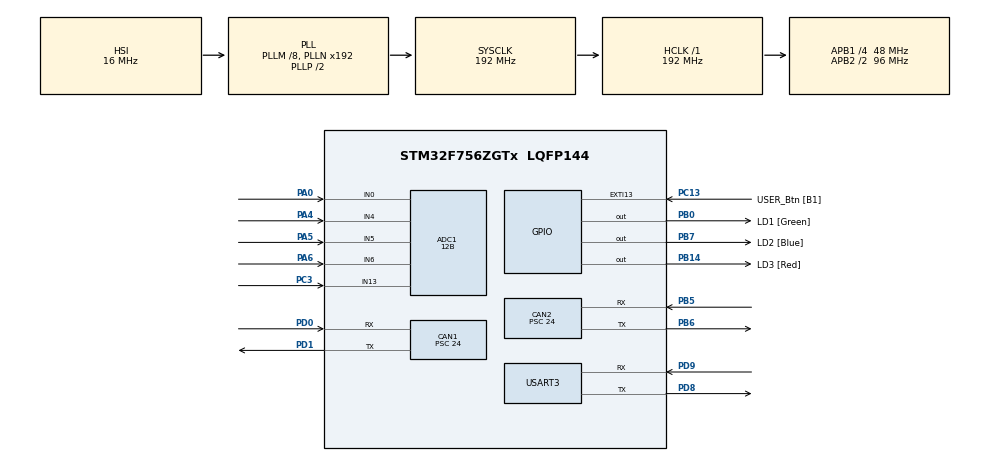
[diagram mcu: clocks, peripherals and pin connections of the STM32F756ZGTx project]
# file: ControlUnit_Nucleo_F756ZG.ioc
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ADC1.Channel-0\#ChannelRegularConversion=ADC_CHANNEL_0
ADC1.Channel-1\#ChannelRegularConversion=ADC_CHANNEL_4
ADC1.Channel-2\#ChannelRegularConversion=ADC_CHANNEL_5
ADC1.Channel-3\#ChannelRegularConversion=ADC_CHANNEL_6
ADC1.Channel-4\#ChannelRegularConversion=ADC_CHANNEL_13
ADC1.ClockPrescaler=ADC_CLOCK_SYNC_PCLK_DIV8
ADC1.ContinuousConvMode=ENABLE
ADC1.DMAContinuousRequests=ENABLE
ADC1.EnableAnalogWatchDog=false
ADC1.InjNumberOfConversion=0
ADC1.NbrOfConversion=5
ADC1.NbrOfConversionFlag=1
ADC1.Rank-0\#ChannelRegularConversion=1
ADC1.Rank-1\#ChannelRegularConversion=2
ADC1.Rank-2\#ChannelRegularConversion=3
ADC1.Rank-3\#ChannelRegularConversion=4
ADC1.Rank-4\#ChannelRegularConversion=5
ADC1.Resolution=ADC_RESOLUTION_12B
ADC1.SamplingTime-0\#ChannelRegularConversion=ADC_SAMPLETIME_480CYCLES
ADC1.SamplingTime-1\#ChannelRegularConversion=ADC_SAMPLETIME_480CYCLES
ADC1.SamplingTime-2\#ChannelRegularConversion=ADC_SAMPLETIME_480CYCLES
ADC1.SamplingTime-3\#ChannelRegularConversion=ADC_SAMPLETIME_480CYCLES
ADC1.SamplingTime-4\#ChannelRegularConversion=ADC_SAMPLETIME_480CYCLES
ADC1.ScanConvMode=ADC_SCAN_ENABLE
ADC1.master=1
CAN1.ABOM=ENABLE
CAN1.BS1=CAN_BS1_2TQ
CAN1.CalculateBaudRate=500000
CAN1.CalculateTimeBit=2000
CAN1.CalculateTimeQuantum=500.0
CAN1.NART=DISABLE
CAN1.Prescaler=24
CAN1.SJW=CAN_SJW_4TQ
CAN2.ABOM=ENABLE
CAN2.BS1=CAN_BS1_2TQ
CAN2.CalculateBaudRate=500000
CAN2.CalculateTimeBit=2000
CAN2.CalculateTimeQuantum=500.0
CAN2.Prescaler=24
Dma.ADC1.0.Direction=DMA_PERIPH_TO_MEMORY
Dma.ADC1.0.FIFOMode=DMA_FIFOMODE_DISABLE
Dma.ADC1.0.Instance=DMA2_Stream0
Dma.ADC1.0.MemDataAlignment=DMA_MDATAALIGN_HALFWORD
Dma.ADC1.0.MemInc=DMA_MINC_ENABLE
Dma.ADC1.0.Mode=DMA_CIRCULAR
Dma.ADC1.0.PeriphDataAlignment=DMA_PDATAALIGN_HALFWORD
Dma.ADC1.0.PeriphInc=DMA_PINC_DISABLE
Dma.ADC1.0.Priority=DMA_PRIORITY_LOW
Dma.Request0=ADC1
Mcu.Family=STM32F7
Mcu.Name=STM32F756ZGTx
Mcu.Package=LQFP144
NVIC.ADC_IRQn=true\:1\:0\:true\:false\:true\:true\:true\:true
NVIC.CAN1_RX0_IRQn=true\:0\:0\:false\:false\:true\:true\:true\:true
NVIC.DMA2_Stream0_IRQn=true\:0\:0\:false\:false\:true\:false\:true\:true
NVIC.EXTI15_10_IRQn=true\:0\:0\:false\:false\:true\:true\:true\:true
NVIC.PriorityGroup=NVIC_PRIORITYGROUP_4
PA0/WKUP.Signal=ADCx_IN0
PA13.GPIO_Label=TMS
PA13.Mode=Serial_Wire
PA13.Signal=SYS_JTMS-SWDIO
PA14.GPIO_Label=TCK
PA14.Mode=Serial_Wire
PA14.Signal=SYS_JTCK-SWCLK
PA4.Signal=ADCx_IN4
PA5.Signal=ADCx_IN5
PA6.Signal=ADCx_IN6
PB0.GPIO_Label=LD1 [Green]
PB0.Signal=GPIO_Output
PB14.GPIO_Label=LD3 [Red]
PB14.Signal=GPIO_Output
PB5.Mode=CAN_Activate
PB5.Signal=CAN2_RX
PB6.Mode=CAN_Activate
PB6.Signal=CAN2_TX
PB7.GPIO_Label=LD2 [Blue]
PB7.Signal=GPIO_Output
PC13.GPIO_Label=USER_Btn [B1]
PC13.Signal=GPXTI13
PC3.Signal=ADCx_IN13
PD0.Mode=CAN_Activate
PD0.Signal=CAN1_RX
PD1.Mode=CAN_Activate
PD1.Signal=CAN1_TX
PD8.Mode=Asynchronous
PD8.Signal=USART3_TX
PD9.Mode=Asynchronous
PD9.Signal=USART3_RX
ProjectManager.HeapSize=0x200
ProjectManager.StackSize=0x400
ProjectManager.TargetToolchain=STM32CubeIDE
RCC.48MHZClocksFreq_Value=24000000
RCC.AHBFreq_Value=192000000
RCC.APB1CLKDivider=RCC_HCLK_DIV4
RCC.APB1Freq_Value=48000000
RCC.APB1TimFreq_Value=96000000
RCC.APB2CLKDivider=RCC_HCLK_DIV2
RCC.APB2Freq_Value=96000000
RCC.APB2TimFreq_Value=192000000
RCC.CortexFreq_Value=192000000
RCC.HCLKFreq_Value=192000000
RCC.HSE_VALUE=8000000
RCC.HSI_VALUE=16000000
RCC.LSE_VALUE=32768
RCC.PLLM=8
RCC.PLLMUL=RCC_PLL_MUL9
RCC.PLLQ=3
RCC.PRESCALERUSB=RCC_USBCLKSOURCE_PLL_DIV1_5
RCC.SYSCLKFreq_VALUE=192000000
RCC.SYSCLKSource=RCC_SYSCLKSOURCE_PLLCLK
RCC.SYSCLKSourceVirtual=RCC_SYSCLKSOURCE_PLLCLK
RCC.USBFreq_Value=128000000
RCC.VCOOutputFreq_Value=384000000
SH.ADCx_IN0.0=ADC1_IN0,IN0
SH.ADCx_IN13.0=ADC1_IN13,IN13
SH.ADCx_IN4.0=ADC1_IN4,IN4
SH.ADCx_IN5.0=ADC1_IN5,IN5
SH.ADCx_IN6.0=ADC1_IN6,IN6
USART3.VirtualMode-Asynchronous=VM_ASYNC
board=NUCLEO-F756ZG

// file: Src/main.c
/* USER CODE BEGIN Header */
/**
  ******************************************************************************
  * @file           : main.c
  * @brief          : Main program body
  ******************************************************************************
  * @attention
  *
  * Copyright (c) 2024 STMicroelectronics.
  * All rights reserved.
  *
  * This software is licensed under terms that can be found in the LICENSE file
  * in the root directory of this software component.
  * If no LICENSE file comes with this software, it is provided AS-IS.
  *
  ******************************************************************************
  */
/* USER CODE END Header */
#include "main.h"

ADC_HandleTypeDef hadc1;
DMA_HandleTypeDef hdma_adc1;

CAN_HandleTypeDef hcan1;
CAN_HandleTypeDef hcan2;

UART_HandleTypeDef huart3;

void SystemClock_Config(void);
static void MX_GPIO_Init(void);
static void MX_DMA_Init(void);
static void MX_USART3_UART_Init(void);
static void MX_ADC1_Init(void);
static void MX_CAN1_Init(void);
static void MX_CAN2_Init(void);

int main(void)
{

  /* MCU Configuration--------------------------------------------------------*/

  /* Reset of all peripherals, Initializes the Flash interface and the Systick. */
  HAL_Init();

  /* Configure the system clock */
  SystemClock_Config();

  /* Initialize all configured peripherals */
  MX_GPIO_Init();
  MX_DMA_Init();
  MX_USART3_UART_Init();
  MX_ADC1_Init();
  MX_CAN1_Init();
  MX_CAN2_Init();
  /* USER CODE BEGIN 2 */
  SchedulerInitFct();
  /* USER CODE END 2 */

  /* Infinite loop */
  /* USER CODE BEGIN WHILE */
  while (1)
  {
	  SchedulerMgmFct();
    /* USER CODE END WHILE */

  }
}

void SystemClock_Config(void)
{
  RCC_OscInitTypeDef RCC_OscInitStruct = {0};
  RCC_ClkInitTypeDef RCC_ClkInitStruct = {0};

  /** Configure the main internal regulator output voltage
  */
  __HAL_RCC_PWR_CLK_ENABLE();
  __HAL_PWR_VOLTAGESCALING_CONFIG(PWR_REGULATOR_VOLTAGE_SCALE1);

  /** Initializes the RCC Oscillators according to the specified parameters
  * in the RCC_OscInitTypeDef structure.
  */
  RCC_OscInitStruct.OscillatorType = RCC_OSCILLATORTYPE_HSI;
  RCC_OscInitStruct.HSIState = RCC_HSI_ON;
  RCC_OscInitStruct.HSICalibrationValue = RCC_HSICALIBRATION_DEFAULT;
  RCC_OscInitStruct.PLL.PLLState = RCC_PLL_ON;
  RCC_OscInitStruct.PLL.PLLSource = RCC_PLLSOURCE_HSI;
  RCC_OscInitStruct.PLL.PLLM = 8;
  RCC_OscInitStruct.PLL.PLLN = 192;
  RCC_OscInitStruct.PLL.PLLP = RCC_PLLP_DIV2;
  RCC_OscInitStruct.PLL.PLLQ = 3;
  if (HAL_RCC_OscConfig(&RCC_OscInitStruct) != HAL_OK)
  {
    Error_Handler();
  }

  /** Activate the Over-Drive mode
  */
  if (HAL_PWREx_EnableOverDrive() != HAL_OK)
  {
    Error_Handler();
  }

  /** Initializes the CPU, AHB and APB buses clocks
  */
  RCC_ClkInitStruct.ClockType = RCC_CLOCKTYPE_HCLK|RCC_CLOCKTYPE_SYSCLK
                              |RCC_CLOCKTYPE_PCLK1|RCC_CLOCKTYPE_PCLK2;
  RCC_ClkInitStruct.SYSCLKSource = RCC_SYSCLKSOURCE_PLLCLK;
  RCC_ClkInitStruct.AHBCLKDivider = RCC_SYSCLK_DIV1;
  RCC_ClkInitStruct.APB1CLKDivider = RCC_HCLK_DIV4;
  RCC_ClkInitStruct.APB2CLKDivider = RCC_HCLK_DIV2;

  if (HAL_RCC_ClockConfig(&RCC_ClkInitStruct, FLASH_LATENCY_6) != HAL_OK)
  {
    Error_Handler();
  }
}

static void MX_ADC1_Init(void)
{

  ADC_ChannelConfTypeDef sConfig = {0};

  /** Configure the global features of the ADC (Clock, Resolution, Data Alignment and number of conversion)
  */
  hadc1.Instance = ADC1;
  hadc1.Init.ClockPrescaler = ADC_CLOCK_SYNC_PCLK_DIV8;
  hadc1.Init.Resolution = ADC_RESOLUTION_12B;
  hadc1.Init.ScanConvMode = ADC_SCAN_ENABLE;
  hadc1.Init.ContinuousConvMode = ENABLE;
  hadc1.Init.DiscontinuousConvMode = DISABLE;
  hadc1.Init.ExternalTrigConvEdge = ADC_EXTERNALTRIGCONVEDGE_NONE;
  hadc1.Init.ExternalTrigConv = ADC_SOFTWARE_START;
  hadc1.Init.DataAlign = ADC_DATAALIGN_RIGHT;
  hadc1.Init.NbrOfConversion = 5;
  hadc1.Init.DMAContinuousRequests = ENABLE;
  hadc1.Init.EOCSelection = ADC_EOC_SINGLE_CONV;
  if (HAL_ADC_Init(&hadc1) != HAL_OK)
  {
    Error_Handler();
  }

  /** Configure for the selected ADC regular channel its corresponding rank in the sequencer and its sample time.
  */
  sConfig.Channel = ADC_CHANNEL_0;
  sConfig.Rank = ADC_REGULAR_RANK_1;
  sConfig.SamplingTime = ADC_SAMPLETIME_480CYCLES;
  if (HAL_ADC_ConfigChannel(&hadc1, &sConfig) != HAL_OK)
  {
    Error_Handler();
  }

  /** Configure for the selected ADC regular channel its corresponding rank in the sequencer and its sample time.
  */
  sConfig.Channel = ADC_CHANNEL_4;
  sConfig.Rank = ADC_REGULAR_RANK_2;
  if (HAL_ADC_ConfigChannel(&hadc1, &sConfig) != HAL_OK)
  {
    Error_Handler();
  }

  /** Configure for the selected ADC regular channel its corresponding rank in the sequencer and its sample time.
  */
  sConfig.Channel = ADC_CHANNEL_5;
  sConfig.Rank = ADC_REGULAR_RANK_3;
  if (HAL_ADC_ConfigChannel(&hadc1, &sConfig) != HAL_OK)
  {
    Error_Handler();
  }

  /** Configure for the selected ADC regular channel its corresponding rank in the sequencer and its sample time.
  */
  sConfig.Channel = ADC_CHANNEL_6;
  sConfig.Rank = ADC_REGULAR_RANK_4;
  if (HAL_ADC_ConfigChannel(&hadc1, &sConfig) != HAL_OK)
  {
    Error_Handler();
  }

  /** Configure for the selected ADC regular channel its corresponding rank in the sequencer and its sample time.
  */
  sConfig.Channel = ADC_CHANNEL_13;
  sConfig.Rank = ADC_REGULAR_RANK_5;
  if (HAL_ADC_ConfigChannel(&hadc1, &sConfig) != HAL_OK)
  {
    Error_Handler();
  }

}

static void MX_CAN1_Init(void)
{

  hcan1.Instance = CAN1;
  hcan1.Init.Prescaler = 24;
  hcan1.Init.Mode = CAN_MODE_NORMAL;
  hcan1.Init.SyncJumpWidth = CAN_SJW_4TQ;
  hcan1.Init.TimeSeg1 = CAN_BS1_2TQ;
  hcan1.Init.TimeSeg2 = CAN_BS2_1TQ;
  hcan1.Init.TimeTriggeredMode = DISABLE;
  hcan1.Init.AutoBusOff = ENABLE;
  hcan1.Init.AutoWakeUp = DISABLE;
  hcan1.Init.AutoRetransmission = DISABLE;
  hcan1.Init.ReceiveFifoLocked = DISABLE;
  hcan1.Init.TransmitFifoPriority = DISABLE;
  if (HAL_CAN_Init(&hcan1) != HAL_OK)
  {
    Error_Handler();
  }

}

static void MX_CAN2_Init(void)
{

  hcan2.Instance = CAN2;
  hcan2.Init.Prescaler = 24;
  hcan2.Init.Mode = CAN_MODE_NORMAL;
  hcan2.Init.SyncJumpWidth = CAN_SJW_1TQ;
  hcan2.Init.TimeSeg1 = CAN_BS1_2TQ;
  hcan2.Init.TimeSeg2 = CAN_BS2_1TQ;
  hcan2.Init.TimeTriggeredMode = DISABLE;
  hcan2.Init.AutoBusOff = ENABLE;
  hcan2.Init.AutoWakeUp = DISABLE;
  hcan2.Init.AutoRetransmission = DISABLE;
  hcan2.Init.ReceiveFifoLocked = DISABLE;
  hcan2.Init.TransmitFifoPriority = DISABLE;
  if (HAL_CAN_Init(&hcan2) != HAL_OK)
  {
    Error_Handler();
  }

}

static void MX_USART3_UART_Init(void)
{

  huart3.Instance = USART3;
  huart3.Init.BaudRate = 115200;
  huart3.Init.WordLength = UART_WORDLENGTH_8B;
  huart3.Init.StopBits = UART_STOPBITS_1;
  huart3.Init.Parity = UART_PARITY_NONE;
  huart3.Init.Mode = UART_MODE_TX_RX;
  huart3.Init.HwFlowCtl = UART_HWCONTROL_NONE;
  huart3.Init.OverSampling = UART_OVERSAMPLING_16;
  huart3.Init.OneBitSampling = UART_ONE_BIT_SAMPLE_DISABLE;
  huart3.AdvancedInit.AdvFeatureInit = UART_ADVFEATURE_NO_INIT;
  if (HAL_UART_Init(&huart3) != HAL_OK)
  {
    Error_Handler();
  }

}

static void MX_DMA_Init(void)
{

  /* DMA controller clock enable */
  __HAL_RCC_DMA2_CLK_ENABLE();

  /* DMA interrupt init */
  /* DMA2_Stream0_IRQn interrupt configuration */
  HAL_NVIC_SetPriority(DMA2_Stream0_IRQn, 0, 0);
  HAL_NVIC_EnableIRQ(DMA2_Stream0_IRQn);

}

static void MX_GPIO_Init(void)
{
  GPIO_InitTypeDef GPIO_InitStruct = {0};

  /* GPIO Ports Clock Enable */
  __HAL_RCC_GPIOC_CLK_ENABLE();
  __HAL_RCC_GPIOA_CLK_ENABLE();
  __HAL_RCC_GPIOB_CLK_ENABLE();
  __HAL_RCC_GPIOD_CLK_ENABLE();

  /*Configure GPIO pin Output Level */
  HAL_GPIO_WritePin(GPIOB, LD1_Pin|LD3_Pin|LD2_Pin, GPIO_PIN_RESET);

  /*Configure GPIO pin : USER_Btn_Pin */
  GPIO_InitStruct.Pin = USER_Btn_Pin;
  GPIO_InitStruct.Mode = GPIO_MODE_IT_RISING;
  GPIO_InitStruct.Pull = GPIO_NOPULL;
  HAL_GPIO_Init(USER_Btn_GPIO_Port, &GPIO_InitStruct);

  /*Configure GPIO pins : LD1_Pin LD3_Pin LD2_Pin */
  GPIO_InitStruct.Pin = LD1_Pin|LD3_Pin|LD2_Pin;
  GPIO_InitStruct.Mode = GPIO_MODE_OUTPUT_PP;
  GPIO_InitStruct.Pull = GPIO_NOPULL;
  GPIO_InitStruct.Speed = GPIO_SPEED_FREQ_LOW;
  HAL_GPIO_Init(GPIOB, &GPIO_InitStruct);

  /* EXTI interrupt init*/
  HAL_NVIC_SetPriority(EXTI15_10_IRQn, 0, 0);
  HAL_NVIC_EnableIRQ(EXTI15_10_IRQn);

}

/* USER CODE BEGIN 4 */
// Called when first half of buffer is filled
void HAL_ADC_ConvHalfCpltCallback(ADC_HandleTypeDef *hadc) {
	//HAL_GPIO_WritePin(GPIOB, GPIO_PIN_0, GPIO_PIN_SET); // GREEN Led
}

// Called when buffer is completed filled
void HAL_ADC_ConvCpltCallback(ADC_HandleTypeDef *hadc) {
	//HAL_GPIO_WritePin(GPIOB, GPIO_PIN_0, GPIO_PIN_RESET); // GREEN Led
}

// Called when there is at least one new message pending in CAN FIFO 0
void HAL_CAN_RxFifo0MsgPendingCallback(CAN_HandleTypeDef *hcan){
	Receive_CAN_Message(hcan);
}

/* ***********************************************************************
 * EXTI callback for pedal calibration (blue USER_BUTTON)
 * ***********************************************************************/
void HAL_GPIO_EXTI_Callback(uint16_t GPIO_Pin)
{
	// Ensure the interrupt is from the user button (blue USER_BUTTON)
	if (GPIO_Pin != USER_Btn_Pin) return;

	// Use crc32 field as a simple state flag: 0 = awaiting zero position, 1 = awaiting full position
	if (pedalCalibrationData.crc32 == 0 && !zeroCollectionActive) { // First button press: record zero (rest) pedal positions
		// Compute the maximum value among the last CALIB_BUFFER_SIZE samples for each channel,
		// providing the “peak” zero-position reference to guard against noise, and store the results
		// in pedalCalibrationData.zero_adc[]

		// Begin zero calibration
		CalibBuffer_Init(&zeroCalibBuffer);
		zeroCollectionActive = true;

		HAL_GPIO_WritePin(GPIOB, GPIO_PIN_0, GPIO_PIN_SET); // GREEN LED ON
		//Notify via UART that ZERO calibration logic has been started in main loop (TaskFast method in Task.c file)
		Display_Message(&huart3, "[CALIB] Start ZERO calibration - collecting samples...");

		// Advance state: non-zero sentinel marks waiting for full position
		pedalCalibrationData.crc32 = 1; // mark step 1 complete
	} else if (pedalCalibrationData.crc32 == 1
            && !zeroCollectionActive
            && !fullCollectionActive) { // Second button press: record full pedal positions within timeout
		// Compute the minimum value among the last CALIB_BUFFER_SIZE samples for each channel,
		// providing the “lowest” full-position reference to guard against noise, and store the results
		// in pedalCalibrationData.full_adc[]

		// Begin zero calibration
		CalibBuffer_Init(&fullCalibBuffer);
		fullCollectionActive = true;

		HAL_GPIO_WritePin(GPIOB, GPIO_PIN_0, GPIO_PIN_SET); // GREEN LED ON

		//Notify via UART that FULL calibration logic has been started in main loop (TaskFast method in Task.c file)
		Display_Message(&huart3, "[CALIB] Start FULL calibration - collecting samples...");
	}
}
/* USER CODE END 4 */

void Error_Handler(void)
{
  __disable_irq();
  while (1)
  {
  }
}
